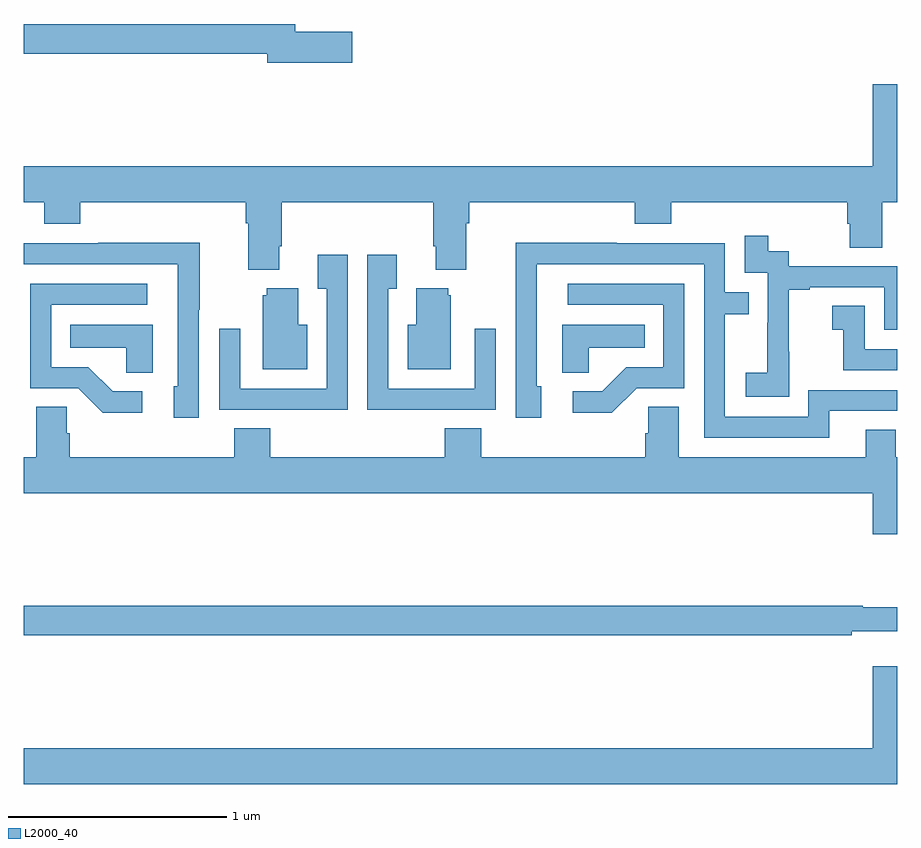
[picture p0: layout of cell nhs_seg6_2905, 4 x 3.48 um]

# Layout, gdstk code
import gdstk
lib = gdstk.Library(unit=1e-6, precision=1e-09)
def P(c, l, *ps):  # polygons
    for p in ps: c.add(gdstk.Polygon(p, *l))
L2000_40 = (2000, 40)

nhs_seg6_2905 = lib.new_cell('nhs_seg6_2905')
P(nhs_seg6_2905, L2000_40, [(282.505,997.4),(282.244,997.4),(282.244,997.436),(281,997.436),(281,997.3),(282.116,997.3),(282.116,997.258),(282.505,997.258)],
  [(282.169,996.418),(282.182,996.418),(282.182,996.62),(282.875,996.62),(282.875,996.418),(282.887,996.418),(282.887,996.311),(283.027,996.311),(283.027,996.524),(283.04,996.524),(283.04,996.62),(283.799,996.62),(283.799,996.521),(283.964,996.521),(283.964,996.62),(284.771,996.62),(284.771,996.522),(284.783,996.522),(284.783,996.412),(284.931,996.412),(284.931,996.62),(285,996.62),(285,997.159),(284.888,997.159),(284.888,996.784),(281,996.784),(281,996.62),(281.093,996.62),(281.093,996.521),(281.258,996.521),(281.258,996.62),(282.017,996.62),(282.017,996.524),(282.029,996.524),(282.029,996.311),(282.169,996.311)],
  [(284.505,995.935),(284.504,995.935),(284.504,996.219),(284.599,996.219),(284.599,996.231),(284.94,996.231),(284.94,996.036),(285,996.036),(285,996.327),(284.502,996.327),(284.502,996.396),(284.41,996.396),(284.41,996.466),(284.301,996.466),(284.301,996.297),(284.406,996.297),(284.406,996.068),(284.405,996.068),(284.405,995.839),(284.307,995.839),(284.307,995.729),(284.505,995.729)],
  [(284.689,995.664),(285,995.664),(285,995.76),(284.592,995.76),(284.592,995.637),(284.211,995.637),(284.211,996.106),(284.321,996.106),(284.321,996.207),(284.211,996.207),(284.211,996.432),(283.715,996.432),(283.715,996.434),(283.252,996.434),(283.252,996.127),(283.254,996.127),(283.254,995.634),(283.369,995.634),(283.369,995.778),(283.35,995.778),(283.35,996.336),(284.115,996.336),(284.115,995.541),(284.689,995.541)],
  [(281.802,996.127),(281.805,996.127),(281.805,996.434),(281.341,996.434),(281.341,996.432),(281,996.432),(281,996.336),(281.706,996.336),(281.706,995.778),(281.687,995.778),(281.687,995.634),(281.802,995.634)],
  [(282.845,995.67),(283.161,995.67),(283.161,996.04),(283.065,996.04),(283.065,995.766),(282.669,995.766),(282.669,996.223),(282.709,996.223),(282.709,996.379),(282.573,996.379),(282.573,995.669),(282.845,995.669)],
  [(282.483,996.379),(282.347,996.379),(282.347,996.223),(282.387,996.223),(282.387,995.766),(281.991,995.766),(281.991,996.04),(281.895,996.04),(281.895,995.67),(282.211,995.67),(282.211,995.669),(282.483,995.669)],
  [(283.806,995.769),(284.025,995.769),(284.025,996.246),(283.491,996.246),(283.491,996.15),(283.929,996.15),(283.929,995.865),(283.76,995.865),(283.649,995.754),(283.515,995.754),(283.515,995.657),(283.693,995.657)],
  [(281.542,995.754),(281.407,995.754),(281.296,995.865),(281.127,995.865),(281.127,996.15),(281.566,996.15),(281.566,996.246),(281.031,996.246),(281.031,995.769),(281.25,995.769),(281.363,995.657),(281.542,995.657)],
  [(282.298,996.058),(282.256,996.058),(282.256,996.226),(282.113,996.226),(282.113,996.195),(282.095,996.195),(282.095,995.855),(282.298,995.855)],
  [(282.955,996.195),(282.944,996.195),(282.944,996.226),(282.797,996.226),(282.797,996.058),(282.758,996.058),(282.758,995.855),(282.955,995.855)],
  [(285,995.946),(284.85,995.946),(284.85,996.145),(284.703,996.145),(284.703,996.035),(284.752,996.035),(284.752,995.85),(285,995.85)],
  [(281.59,996.058),(281.212,996.058),(281.212,995.954),(281.469,995.954),(281.469,995.839),(281.59,995.839)],
  [(283.587,995.954),(283.844,995.954),(283.844,996.058),(283.466,996.058),(283.466,995.839),(283.587,995.839)],
  [(285,995.452),(284.994,995.452),(284.994,995.579),(284.855,995.579),(284.855,995.452),(283.999,995.452),(283.999,995.684),(283.86,995.684),(283.86,995.561),(283.847,995.561),(283.847,995.452),(283.094,995.452),(283.094,995.585),(282.929,995.585),(282.929,995.452),(282.128,995.452),(282.128,995.585),(281.963,995.585),(281.963,995.452),(281.21,995.452),(281.21,995.561),(281.196,995.561),(281.196,995.684),(281.057,995.684),(281.057,995.452),(281,995.452),(281,995.288),(284.888,995.288),(284.888,995.1),(285,995.1)],
  [(284.792,994.655),(285,994.655),(285,994.765),(284.843,994.765),(284.843,994.772),(281,994.772),(281,994.636),(284.792,994.636)],
  [(285,994.495),(284.888,994.495),(284.888,994.12),(281,994.12),(281,993.956),(285,993.956)])

lib.write_gds('nhs_seg6_2905.gds')
